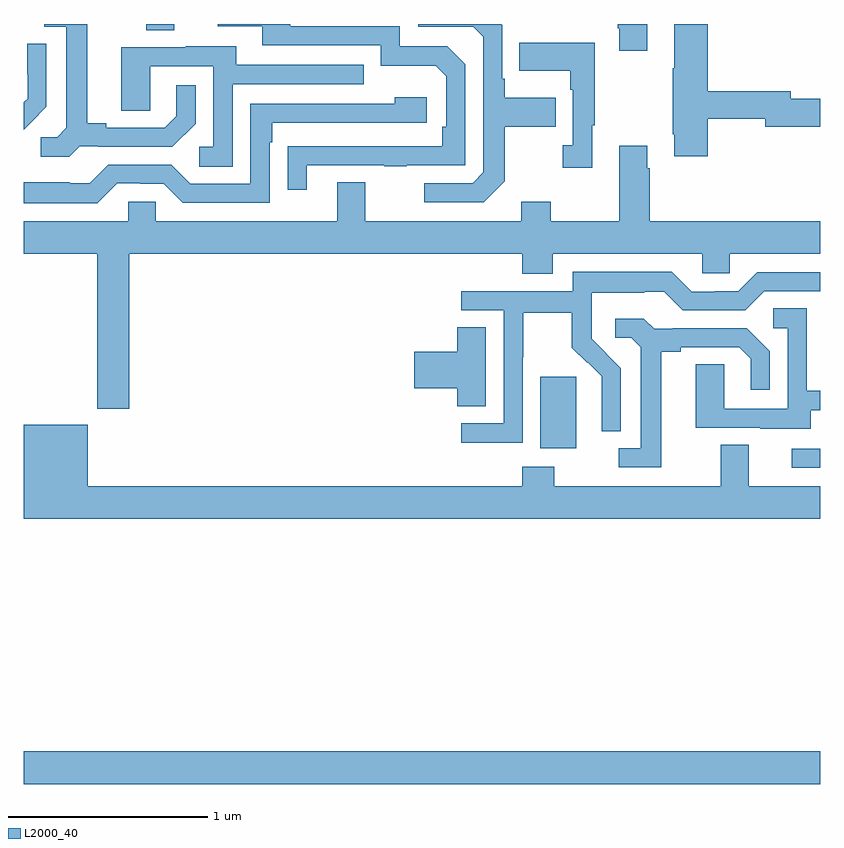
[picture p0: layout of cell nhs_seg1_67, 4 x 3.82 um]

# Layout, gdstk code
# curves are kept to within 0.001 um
import gdstk
lib = gdstk.Library(unit=1e-6, precision=1e-09)
def R(c, l, rs):  # rectangles x0, y0, x1, y1
    for r in rs: c.add(gdstk.rectangle(r[:2], r[2:], *l))
def P(c, l, *ps):  # polygons
    for p in ps: c.add(gdstk.Polygon(p, *l))
L2000_40 = (2000, 40)

nhs_seg1_67 = lib.new_cell('nhs_seg1_67')
R(nhs_seg1_67, L2000_40, [(113,570.38,117,570.544), (116.859,571.968,117,572.064), (115.595,572.066,115.774,572.427), (113.615,574.168,113.755,574.199)])
P(nhs_seg1_67, L2000_40, [(115.417,573.409),(115.417,573.682),(115.673,573.682),(115.673,573.829),(115.417,573.829),(115.417,573.925),(115.404,573.925),(115.404,574.194),(115.399,574.199),(114.981,574.199),(114.981,574.185),(115.257,574.185),(115.308,574.134),(115.308,573.453),(115.254,573.399),(115.011,573.399),(115.011,573.303),(115.311,573.303)],
  [(114.421,573.489),(114.811,573.489),(114.811,573.484),(114.923,573.484),(114.923,573.489),(115.218,573.489),(115.218,573.996),(115.128,574.086),(114.888,574.086),(114.888,574.188),(114.337,574.188),(114.337,574.199),(113.973,574.199),(113.973,574.188),(114.197,574.188),(114.197,574.092),(114.792,574.092),(114.792,573.989),(115.069,573.989),(115.122,573.936),(115.122,573.682),(115.102,573.682),(115.102,573.585),(114.325,573.584),(114.325,573.366),(114.421,573.366)],
  [(116.131,574.199),(115.984,574.199),(115.984,574.177),(115.991,574.177),(115.991,574.065),(116.131,574.065)],
  [(116.435,573.724),(116.726,573.724),(116.726,573.682),(117,573.682),(117,573.824),(116.854,573.824),(116.854,573.86),(116.435,573.86),(116.435,574.199),(116.267,574.199),(116.267,573.977),(116.26,573.977),(116.26,573.646),(116.267,573.646),(116.267,573.534),(116.435,573.534)],
  [(113.28,573.585),(113.374,573.585),(113.374,573.582),(113.746,573.582),(113.862,573.698),(113.862,573.892),(113.765,573.892),(113.765,573.735),(113.708,573.678),(113.413,573.678),(113.413,573.701),(113.317,573.701),(113.317,574.199),(113.103,574.199),(113.103,574.185),(113.213,574.185),(113.213,573.677),(113.166,573.63),(113.085,573.63),(113.085,573.533),(113.228,573.533)],
  [(115.855,573.689),(115.867,573.689),(115.867,574.105),(115.489,574.105),(115.489,573.965),(115.746,573.965),(115.746,573.869),(115.758,573.869),(115.758,573.59),(115.707,573.59),(115.707,573.477),(115.855,573.477)],
  [(113.04,573.708),(113.039,573.709),(113.112,573.782),(113.112,574.1),(113.016,574.1),(113.016,573.946),(113.018,573.946),(113.018,573.824),(113,573.806),(113,573.668)],
  [(114.048,573.897),(114.707,573.897),(114.707,573.993),(114.067,573.993),(114.067,574.087),(113.813,574.087),(113.813,574.083),(113.489,574.083),(113.489,573.763),(113.634,573.763),(113.634,573.987),(113.952,573.987),(113.952,573.582),(113.88,573.582),(113.88,573.481),(114.048,573.481)],
  [(113.469,573.399),(113.585,573.399),(113.585,573.396),(113.703,573.396),(113.799,573.3),(114.234,573.3),(114.234,573.605),(114.247,573.605),(114.247,573.702),(115.024,573.702),(115.024,573.832),(114.863,573.832),(114.863,573.798),(114.138,573.798),(114.138,573.396),(113.835,573.396),(113.739,573.492),(113.424,573.492),(113.331,573.399),(113.231,573.399),(113.231,573.403),(113,573.403),(113,573.299),(113.369,573.299)],
  [(113.528,573.044),(115.505,573.044),(115.505,572.945),(115.657,572.945),(115.657,573.044),(116.409,573.044),(116.409,572.946),(116.547,572.946),(116.547,573.044),(117,573.044),(117,573.208),(116.144,573.208),(116.144,573.473),(116.131,573.473),(116.131,573.586),(115.991,573.586),(115.991,573.208),(115.647,573.208),(115.647,573.307),(115.499,573.307),(115.499,573.208),(114.715,573.208),(114.715,573.403),(114.575,573.403),(114.575,573.208),(113.661,573.208),(113.661,573.306),(113.523,573.306),(113.523,573.208),(113,573.208),(113,573.044),(113.368,573.044),(113.368,572.265),(113.528,572.265)],
  [(115.506,572.524),(115.509,572.524),(115.509,572.748),(115.753,572.748),(115.753,572.573),(115.83,572.496),(115.833,572.499),(115.904,572.429),(115.904,572.306),(115.902,572.306),(115.902,572.152),(115.998,572.152),(115.998,572.47),(115.852,572.618),(115.852,572.715),(115.854,572.715),(115.854,572.849),(116.117,572.849),(116.117,572.853),(116.217,572.853),(116.31,572.76),(116.625,572.76),(116.721,572.856),(117,572.856),(117,572.952),(116.685,572.952),(116.589,572.856),(116.471,572.856),(116.471,572.853),(116.355,572.853),(116.255,572.953),(115.758,572.953),(115.758,572.856),(115.197,572.856),(115.197,572.76),(115.41,572.76),(115.41,572.193),(115.197,572.193),(115.197,572.095),(115.506,572.095)],
  [(116.953,572.259),(117,572.259),(117,572.355),(116.934,572.355),(116.934,572.771),(116.766,572.771),(116.766,572.67),(116.838,572.67),(116.838,572.265),(116.52,572.265),(116.52,572.489),(116.375,572.489),(116.375,572.169),(116.699,572.169),(116.699,572.165),(116.953,572.165)],
  [(116.203,572.552),(116.299,572.552),(116.299,572.574),(116.594,572.574),(116.651,572.517),(116.651,572.361),(116.748,572.361),(116.748,572.554),(116.632,572.67),(116.26,572.67),(116.26,572.667),(116.166,572.667),(116.114,572.719),(115.971,572.719),(115.971,572.622),(116.052,572.622),(116.099,572.575),(116.099,572.067),(115.989,572.067),(115.989,571.971),(116.203,571.971)],
  [(115.321,572.675),(115.178,572.675),(115.178,572.552),(114.96,572.552),(114.96,572.369),(115.178,572.369),(115.178,572.278),(115.321,572.278)],
  [(117,571.876),(116.641,571.876),(116.641,572.084),(116.501,572.084),(116.501,571.876),(115.665,571.876),(115.665,571.975),(115.505,571.975),(115.505,571.876),(113.32,571.876),(113.32,572.185),(113,572.185),(113,571.712),(117,571.712)])

lib.write_gds('nhs_seg1_67.gds')
